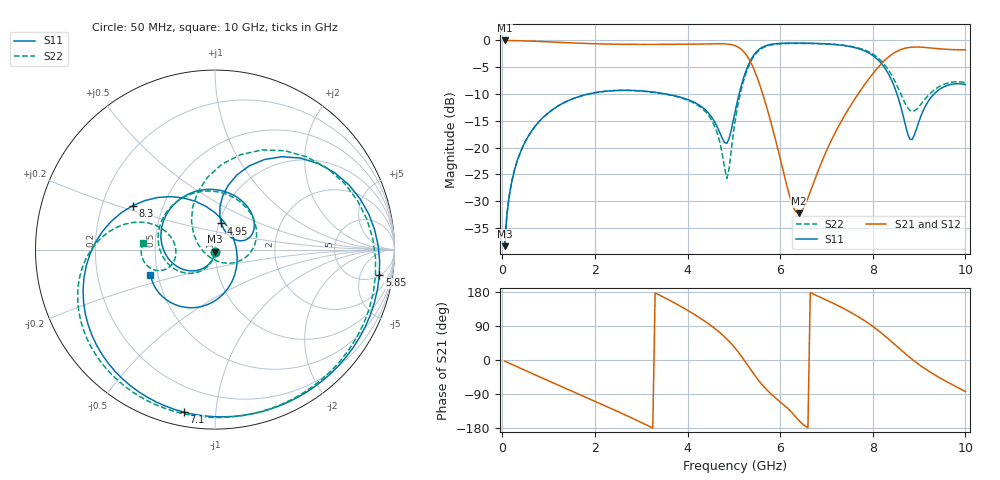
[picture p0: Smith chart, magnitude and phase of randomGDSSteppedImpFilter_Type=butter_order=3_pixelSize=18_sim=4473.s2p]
! freq	dB(S11)	phase(S11)	dB(S12)	phase(S12)
!  dB(S21)	phase(S21)	dB(S22)	phase(S22)
!S-par simulation data
#  GHz  S  DB  R 50
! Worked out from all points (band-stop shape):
!   200 points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, 50 MHz to 10 GHz, reference 50 ohm
!   highest |S21| = -0.01 dB at 50 MHz (marker M1); lowest = -32.2 dB at 6.4 GHz (marker M2)
!   |S21| within 3 dB of the highest: start of sweep to 5.292 GHz; 8.353 GHz to end of sweep
!   lowest |S11| = -38.4 dB at 50 MHz (marker M3), VSWR 1.02, Z = 49.9 - j1.2 ohm
!   |S11| at or under -10 dB: start of sweep to 1.858 GHz; 3.54 GHz to 5.114 GHz (1.574 GHz wide, 36.4 % of centre); 8.522 GHz to 9.323 GHz (800.4 MHz wide, 8.97 % of centre)
!   |S22| runs from -38.4 to -0.6 dB; largest |S21 - S12| = 0
!   S11 on the Smith chart (normalised r, x): 50 MHz: 1.00, -0.02; 4.95 GHz: 1.03, +0.31; 5.85 GHz: 5, -10; 7.1 GHz: 0.07, -0.82; 8.3 GHz: 0.33, +0.22; 10 GHz: 0.45, -0.15
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0.05  -38.38 -91.8  -0.01 -2.8  -0.01 -2.8  -38.38 -91.4
0.2  -26.52 -102.0  -0.03 -11.2  -0.03 -11.2  -26.52 -100.6
0.5  -18.81 -120.0  -0.10 -27.8  -0.10 -27.8  -18.81 -116.5
1.75  -10.24 167.9  -0.55 -95.4  -0.55 -95.4  -10.24 179.8
2.7  -9.31 114.2  -0.74 -147.5  -0.74 -147.5  -9.33 129.6
3.4  -9.80 74.9  -0.75 171.1  -0.75 171.1  -9.86 86.6
4.4  -13.07 22.2  -0.65 100.2  -0.65 100.2  -13.41 2.5
4.85  -19.18 51.4  -0.66 55.2  -0.66 55.2  -25.73 -121.9
4.95  -16.49 76.3  -0.79 42.4  -0.79 42.4  -19.99 162.1
5.05  -12.37 83.3  -1.06 28.1  -1.06 28.1  -13.82 130.0
5.4  -3.14 47.0  -4.73 -31.7  -4.73 -31.7  -3.41 54.7
5.6  -1.34 19.3  -9.35 -63.8  -9.35 -63.8  -1.52 18.9
5.85  -0.66 -8.9  -16.87 -94.9  -16.87 -94.9  -0.78 -15.4
6.4  -0.50 -53.8  -32.25 -159.0  -32.25 -159.0  -0.55 -66.6
6.7  -0.54 -74.3  -27.11 174.9  -27.11 174.9  -0.57 -88.1
7.1  -0.71 -100.9  -18.73 152.3  -18.73 152.3  -0.70 -113.8
7.8  -1.87 -153.7  -8.54 105.5  -8.54 105.5  -1.71 -158.4
8.3  -5.68 151.9  -3.40 59.5  -3.40 59.5  -5.03 167.1
8.35  -6.44 145.0  -3.03 54.2  -3.03 54.2  -5.65 164.2
8.85  -18.49 3.2  -1.26 1.8  -1.26 1.8  -13.24 -178.6
9.35  -9.76 -103.0  -1.49 -40.1  -1.49 -40.1  -9.09 -160.9
10  -8.24 -158.2  -1.74 -83.3  -1.74 -83.3  -7.88 174.8
